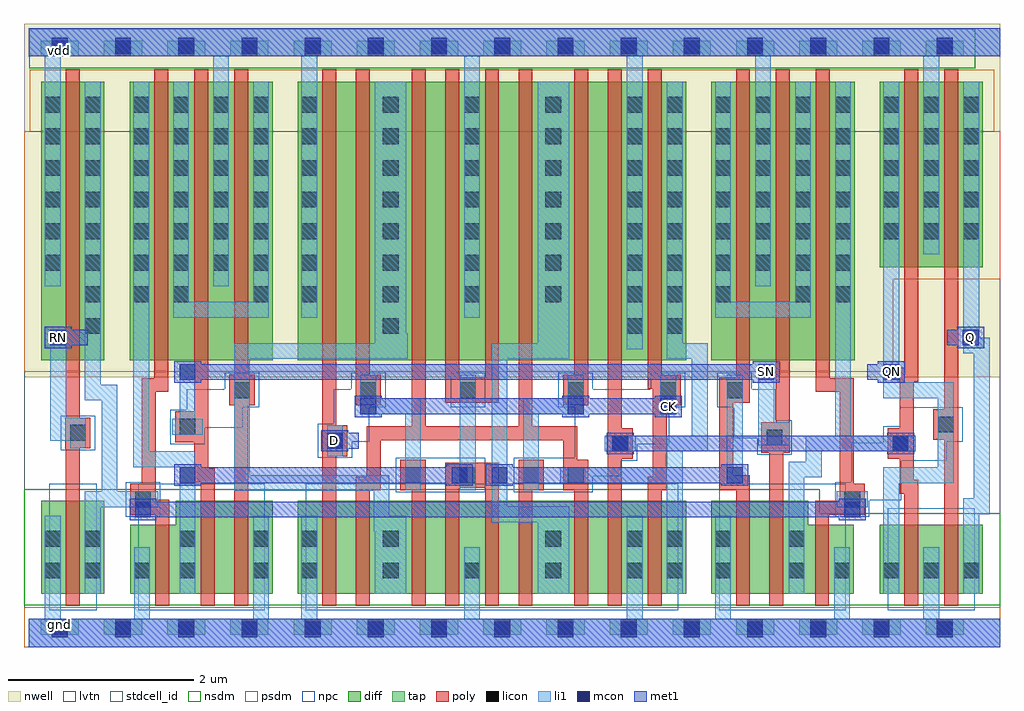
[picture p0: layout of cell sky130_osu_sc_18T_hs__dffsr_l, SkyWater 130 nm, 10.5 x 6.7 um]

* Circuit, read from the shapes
.subckt sky130_osu_sc_18T_hs__dffsr_l CK D Q QN RN SN gnd vdd
XM1 n1 RN gnd gnd sky130_fd_pr__nfet_01v8_lvt w=1 l=0.15
XM2 n2 n1 gnd gnd sky130_fd_pr__nfet_01v8_lvt w=0.74 l=0.15
XM3 n3 SN n2 gnd sky130_fd_pr__nfet_01v8_lvt w=1 l=0.15
XM4 gnd n4 n3 gnd sky130_fd_pr__nfet_01v8_lvt w=1 l=0.15
XM5 n5 D gnd gnd sky130_fd_pr__nfet_01v8_lvt w=1 l=0.15
XM6 n4 n6 n5 gnd sky130_fd_pr__nfet_01v8_lvt w=1 l=0.15
XM7 n7 CK n4 gnd sky130_fd_pr__nfet_01v8_lvt w=1 l=0.15
XM8 gnd n2 n7 gnd sky130_fd_pr__nfet_01v8_lvt w=1 l=0.15
XM9 n8 n2 gnd gnd sky130_fd_pr__nfet_01v8_lvt w=1 l=0.15
XM10 n9 CK n8 gnd sky130_fd_pr__nfet_01v8_lvt w=1 l=0.15
XM11 n10 n6 n9 gnd sky130_fd_pr__nfet_01v8_lvt w=1 l=0.15
XM12 gnd n11 n10 gnd sky130_fd_pr__nfet_01v8_lvt w=1 l=0.15
XM13 n6 CK gnd gnd sky130_fd_pr__nfet_01v8_lvt w=1 l=0.15
XM14 n12 n9 gnd gnd sky130_fd_pr__nfet_01v8_lvt w=1 l=0.15
XM15 n11 SN n12 gnd sky130_fd_pr__nfet_01v8_lvt w=1 l=0.15
XM16 gnd n1 n11 gnd sky130_fd_pr__nfet_01v8_lvt w=0.74 l=0.15
XM17 gnd n11 QN gnd sky130_fd_pr__nfet_01v8_lvt w=0.74 l=0.15
XM18 Q QN gnd gnd sky130_fd_pr__nfet_01v8_lvt w=0.74 l=0.15
XM19 n1 RN vdd vdd sky130_fd_pr__pfet_01v8 w=3 l=0.15
XM20 n13 n1 n2 vdd sky130_fd_pr__pfet_01v8 w=3 l=0.15
XM21 vdd SN n13 vdd sky130_fd_pr__pfet_01v8 w=3 l=0.15
XM22 n13 n4 vdd vdd sky130_fd_pr__pfet_01v8 w=3 l=0.15
XM23 n14 D vdd vdd sky130_fd_pr__pfet_01v8 w=3 l=0.15
XM24 n4 CK n14 vdd sky130_fd_pr__pfet_01v8 w=3 l=0.15
XM25 n15 n6 n4 vdd sky130_fd_pr__pfet_01v8 w=3 l=0.15
XM26 vdd n2 n15 vdd sky130_fd_pr__pfet_01v8 w=3 l=0.15
XM27 n16 n2 vdd vdd sky130_fd_pr__pfet_01v8 w=3 l=0.15
XM28 n9 n6 n16 vdd sky130_fd_pr__pfet_01v8 w=3 l=0.15
XM29 n17 CK n9 vdd sky130_fd_pr__pfet_01v8 w=3 l=0.15
XM30 vdd n11 n17 vdd sky130_fd_pr__pfet_01v8 w=3 l=0.15
XM31 n6 CK vdd vdd sky130_fd_pr__pfet_01v8 w=3 l=0.15
XM32 vdd n9 n18 vdd sky130_fd_pr__pfet_01v8 w=3 l=0.15
XM33 n18 SN vdd vdd sky130_fd_pr__pfet_01v8 w=3 l=0.15
XM34 n11 n1 n18 vdd sky130_fd_pr__pfet_01v8 w=3 l=0.15
XM35 vdd n11 QN vdd sky130_fd_pr__pfet_01v8 w=2 l=0.15
XM36 Q QN vdd vdd sky130_fd_pr__pfet_01v8 w=2 l=0.15
.ends

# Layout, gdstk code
import gdstk
lib = gdstk.Library(unit=1e-6, precision=1e-09)
def R(c, l, rs):  # rectangles x0, y0, x1, y1
    for r in rs: c.add(gdstk.rectangle(r[:2], r[2:], *l))
def A(c, l, x, y, w, h, nx, ny, dx, dy):  # array of equal rectangles
    R(c, l, [(x+i*dx, y+j*dy, x+i*dx+w, y+j*dy+h) for i in range(nx) for j in range(ny)])
nwell = (64, 20)
diff = (65, 20)
tap = (65, 44)
poly = (66, 20)
licon = (66, 44)
li1 = (67, 20)
mcon = (67, 44)
met1 = (68, 20)
stdcell_id = (81, 4)
nsdm = (93, 44)
psdm = (94, 20)
npc = (95, 20)
lvtn = (125, 44)

sky130_osu_sc_18t_hs__df = lib.new_cell('sky130_osu_sc_18T_hs__dffsr_l')
R(sky130_osu_sc_18t_hs__df, nwell, [(-0.05,2.905,10.45,6.705)])
R(sky130_osu_sc_18t_hs__df, diff, [(0.135,0.575,0.815,1.575), (1.095,0.575,2.625,1.315), (2.895,0.575,7.075,1.575), (7.345,0.575,8.875,1.315), (9.155,0.575,10.265,1.315), (1.585,1.315,2.625,1.575), (7.345,1.315,8.385,1.575), (0.135,3.085,0.815,6.085), (1.085,3.085,2.625,6.085), (2.895,3.085,7.075,6.085), (7.345,3.085,8.885,6.085), (9.155,4.085,10.265,6.085)])
A(sky130_osu_sc_18t_hs__df, tap, 0.13, 0.135, 0.41, 0.17, 15, 2, 0.68, 6.22)
R(sky130_osu_sc_18t_hs__df, poly, [(0.4,0.445,0.55,2.135), (1.36,0.445,1.51,1.425), (1.85,0.445,2,1.775), (2.21,0.445,2.36,2.6), (3.16,0.445,3.31,2.055), (3.52,0.445,3.67,1.685), (4.12,0.445,4.27,1.685), (4.48,0.445,4.63,1.715), (4.91,0.445,5.06,1.715), (5.27,0.445,5.42,1.685), (5.87,0.445,6.02,1.685), (6.23,0.445,6.38,2.025), (6.66,0.445,6.81,1.685), (7.61,0.445,7.76,1.69), (7.97,0.445,8.12,2.09), (8.46,0.445,8.61,1.425), (9.42,0.445,9.57,1.65), (9.85,0.445,10,2.23), (1.095,1.425,1.51,1.585), (8.46,1.425,8.995,1.575), (8.725,1.575,8.995,1.755), (1.095,1.585,1.365,1.755), (9.37,1.65,9.57,1.8), (3.52,1.685,3.79,1.835), (4,1.685,4.27,2.015), (5.27,1.685,5.54,2.015), (5.75,1.685,6.02,2.015), (6.66,1.685,6.865,1.835), (7.43,1.69,7.76,1.85), (4.48,1.715,5.06,1.985), (1.215,1.755,1.365,2.745), (8.725,1.755,8.875,2.745), (1.78,1.775,2,1.925), (9.37,1.8,9.52,2.025), (3.64,1.835,3.79,2.225), (6.715,1.835,6.865,2.6), (7.43,1.85,7.58,2.63), (1.78,1.925,1.93,2.205), (5.75,2.015,5.9,2.225), (6.23,2.025,6.5,2.355), (9.245,2.025,9.52,2.355), (3.16,2.055,3.43,2.385), (7.88,2.09,8.19,2.42), (0.395,2.135,0.55,2.14), (0.395,2.14,0.665,2.47), (1.575,2.205,1.93,2.535), (3.64,2.225,5.9,2.375), (9.73,2.23,10,2.56), (6.23,2.355,6.38,6.215), (9.37,2.355,9.52,2.855), (4.12,2.375,4.27,6.215), (5.27,2.375,5.42,6.215), (3.16,2.385,3.31,6.215), (8.04,2.42,8.19,6.215), (0.4,2.47,0.55,6.215), (1.78,2.535,1.93,6.215), (9.85,2.56,10,6.215), (2.16,2.6,2.43,2.93), (3.52,2.6,3.79,2.93), (5.75,2.6,6.02,2.93), (6.715,2.6,7.015,2.78), (4.48,2.63,5.06,2.9), (7.43,2.63,7.76,2.9), (1.215,2.745,1.5,2.895), (8.47,2.745,8.875,2.895), (6.66,2.78,7.015,2.93), (9.37,2.855,9.57,3.005), (1.35,2.895,1.5,6.215), (8.47,2.895,8.62,6.215), (4.48,2.9,4.63,6.215), (4.91,2.9,5.06,6.215), (7.61,2.9,7.76,6.215), (2.21,2.93,2.36,6.215), (3.52,2.93,3.67,6.215), (5.87,2.93,6.02,6.215), (6.66,2.93,6.81,6.215), (9.42,3.005,9.57,6.215)])
A(sky130_osu_sc_18t_hs__df, licon, 0.25, 0.135, 0.17, 0.17, 15, 2, 0.68, 6.22)
A(sky130_osu_sc_18t_hs__df, licon, 2.935, 0.74, 0.17, 0.17, 5, 2, 0.875, 2.97)
A(sky130_osu_sc_18t_hs__df, licon, 9.195, 0.74, 0.17, 0.17, 3, 2, 0.43, 3.65)
A(sky130_osu_sc_18t_hs__df, licon, 0.605, 3.37, 0.17, 0.17, 1, 8, 0, 0.34)
A(sky130_osu_sc_18t_hs__df, licon, 6.865, 3.37, 0.17, 0.17, 1, 8, 0, 0.34)
A(sky130_osu_sc_18t_hs__df, licon, 0.175, 4.05, 0.17, 0.17, 1, 6, 0, 0.34)
A(sky130_osu_sc_18t_hs__df, licon, 1.125, 4.05, 0.17, 0.17, 4, 6, 0.43, 0.34)
A(sky130_osu_sc_18t_hs__df, licon, 2.935, 4.05, 0.17, 0.17, 5, 6, 0.875, 0.34)
A(sky130_osu_sc_18t_hs__df, licon, 7.385, 4.05, 0.17, 0.17, 4, 6, 0.43, 0.34)
A(sky130_osu_sc_18t_hs__df, licon, 9.195, 4.73, 0.17, 0.17, 3, 4, 0.43, 0.34)
R(sky130_osu_sc_18t_hs__df, licon, [(0.175,0.74,0.345,0.91), (0.605,0.74,0.775,0.91), (1.135,0.74,1.305,0.91), (1.625,0.74,1.795,0.91), (2.415,0.74,2.585,0.91), (6.865,0.74,7.035,0.91), (7.385,0.74,7.555,0.91), (8.175,0.74,8.345,0.91), (8.665,0.74,8.835,0.91), (0.175,1.08,0.345,1.25), (0.605,1.08,0.775,1.25), (1.625,1.08,1.795,1.25), (2.415,1.08,2.585,1.25), (2.935,1.08,3.105,1.25), (3.81,1.08,3.98,1.25), (5.56,1.08,5.73,1.25), (6.435,1.08,6.605,1.25), (6.865,1.08,7.035,1.25), (7.385,1.08,7.555,1.25), (8.175,1.08,8.345,1.25), (1.145,1.505,1.315,1.675), (8.775,1.505,8.945,1.675), (4.05,1.765,4.22,1.935), (4.64,1.765,4.81,1.935), (5.32,1.765,5.49,1.935), (5.8,1.765,5.97,1.935), (6.28,2.105,6.45,2.275), (9.295,2.105,9.465,2.275), (3.21,2.135,3.38,2.305), (7.94,2.17,8.11,2.34), (0.445,2.22,0.615,2.39), (1.625,2.285,1.795,2.455), (9.78,2.31,9.95,2.48), (2.21,2.68,2.38,2.85), (3.57,2.68,3.74,2.85), (4.64,2.68,4.81,2.85), (5.8,2.68,5.97,2.85), (6.795,2.68,6.965,2.85), (7.51,2.68,7.68,2.85), (3.81,3.37,3.98,3.54), (6.435,3.37,6.605,3.54), (1.125,3.71,1.295,3.88), (1.555,3.71,1.725,3.88), (2.415,3.71,2.585,3.88), (7.385,3.71,7.555,3.88), (8.245,3.71,8.415,3.88), (8.675,3.71,8.845,3.88)])
R(sky130_osu_sc_18t_hs__df, li1, [(0,0,10.45,0.305), (0.175,0.305,0.345,1.415), (1.135,0.305,1.305,1.075), (2.415,0.305,2.585,1.415), (2.935,0.305,3.105,1.415), (4.685,0.305,4.855,1.075), (6.435,0.305,6.605,1.415), (7.385,0.305,7.555,1.415), (8.665,0.305,8.835,1.075), (9.625,0.305,9.795,1.075), (0.605,0.575,0.775,1.505), (1.625,0.575,1.795,1.935), (3.725,0.575,4.065,1.245), (5.475,0.575,5.815,1.345), (6.865,0.575,7.035,1.765), (8.175,0.575,8.345,1.825), (9.195,0.575,9.365,1.765), (10.055,0.575,10.225,1.43), (3.71,1.245,4.065,1.415), (4.98,1.345,5.815,1.515), (1.145,1.395,1.315,1.505), (8.775,1.395,8.945,1.505), (3.71,1.415,3.88,1.68), (10.055,1.43,10.34,1.6), (0.605,1.505,1.395,1.675), (8.695,1.505,9.025,1.675), (4.98,1.515,5.15,3.1), (10.17,1.6,10.34,3.16), (0.785,1.675,0.955,2.655), (2.21,1.68,3.88,1.85), (4.05,1.685,4.22,2.505), (4.64,1.685,4.81,1.765), (5.32,1.685,5.49,2.505), (4.55,1.765,4.81,1.935), (5.72,1.765,7.035,1.935), (7.51,1.765,7.68,2.93), (9.195,1.765,9.95,1.935), (8.175,1.825,8.53,1.995), (2.21,1.85,2.38,3.1), (1.125,1.935,1.795,2.105), (4.64,1.935,4.81,2.93), (6.865,1.935,7.035,2.105), (9.78,1.935,9.95,2.68), (8.36,1.995,8.53,2.105), (3.21,2.055,3.38,2.385), (1.125,2.105,1.295,6.085), (6.2,2.105,6.53,2.275), (6.865,2.105,7.305,2.275), (8.36,2.105,9.545,2.275), (0.445,2.14,0.615,2.22), (7.85,2.17,8.19,2.42), (0.235,2.22,0.615,2.47), (7.135,2.275,7.305,3.1), (8.675,2.275,8.845,6.085), (1.545,2.285,1.875,2.455), (7.85,2.42,8.02,3.045), (1.625,2.455,1.795,3.045), (0.235,2.47,0.405,3.415), (3.57,2.505,4.22,2.675), (5.32,2.505,5.97,2.675), (6.795,2.505,6.965,2.93), (0.605,2.655,0.955,2.825), (3.57,2.675,3.74,2.93), (5.8,2.675,5.97,2.93), (9.195,2.68,9.95,2.85), (0.605,2.825,0.775,6.085), (9.195,2.85,9.365,6.085), (2.21,3.1,4.08,3.27), (4.98,3.1,5.815,3.27), (6.865,3.1,7.305,3.27), (10.055,3.16,10.34,3.245), (6.435,3.205,6.605,6.355), (10.05,3.245,10.34,3.33), (3.725,3.27,4.08,3.375), (5.475,3.27,5.815,6.085), (6.865,3.27,7.035,6.085), (10.05,3.33,10.225,3.415), (3.725,3.375,4.065,6.085), (10.055,3.415,10.225,6.085), (1.555,3.545,2.585,3.715), (2.935,3.545,3.105,6.355), (4.685,3.545,4.855,6.355), (7.385,3.545,8.415,3.715), (1.555,3.715,1.725,6.085), (2.415,3.715,2.585,6.085), (7.385,3.715,7.555,6.085), (8.245,3.715,8.415,6.085), (0.175,3.885,0.345,6.355), (1.985,3.885,2.155,6.355), (7.815,3.885,7.985,6.355), (9.625,4.225,9.795,6.355), (0,6.355,10.45,6.66)])
A(sky130_osu_sc_18t_hs__df, mcon, 0.25, 0.105, 0.17, 0.17, 15, 2, 0.68, 6.28)
R(sky130_osu_sc_18t_hs__df, mcon, [(1.145,1.395,1.315,1.565), (8.775,1.395,8.945,1.565), (1.625,1.765,1.795,1.935), (4.55,1.765,4.72,1.935), (4.98,1.765,5.15,1.935), (7.51,1.765,7.68,1.935), (6.28,2.105,6.45,2.275), (9.295,2.105,9.465,2.275), (3.21,2.135,3.38,2.305), (3.57,2.505,3.74,2.675), (5.8,2.505,5.97,2.675), (6.795,2.505,6.965,2.675), (1.625,2.875,1.795,3.045), (7.85,2.875,8.02,3.045), (9.195,2.875,9.365,3.045), (0.235,3.245,0.405,3.415), (10.05,3.245,10.22,3.415)])
R(sky130_osu_sc_18t_hs__df, met1, [(0,0,10.45,0.305), (1.085,1.365,1.375,1.395), (8.715,1.365,9.005,1.395), (1.085,1.395,9.005,1.565), (1.085,1.565,1.375,1.595), (8.715,1.565,9.005,1.595), (1.565,1.735,1.855,1.765), (4.49,1.735,4.78,1.765), (4.92,1.735,5.21,1.765), (7.45,1.735,7.74,1.765), (1.565,1.765,4.78,1.935), (4.92,1.765,7.74,1.935), (1.565,1.935,1.855,1.965), (4.49,1.935,4.78,1.965), (4.92,1.935,5.21,1.965), (7.45,1.935,7.74,1.965), (6.22,2.075,6.51,2.105), (9.235,2.075,9.525,2.105), (3.15,2.105,3.44,2.135), (6.22,2.105,9.525,2.275), (3.15,2.135,3.55,2.305), (6.22,2.275,6.51,2.305), (9.235,2.275,9.525,2.305), (3.15,2.305,3.44,2.335), (3.51,2.475,3.8,2.505), (5.74,2.475,6.03,2.505), (6.735,2.475,7.025,2.505), (3.51,2.505,7.025,2.675), (3.51,2.675,3.8,2.705), (5.74,2.675,6.03,2.705), (6.735,2.675,7.025,2.705), (1.565,2.845,1.855,2.875), (7.79,2.845,8.08,2.875), (9.135,2.845,9.425,2.875), (1.565,2.875,8.08,3.045), (9.02,2.875,9.425,3.045), (1.565,3.045,1.855,3.075), (7.79,3.045,8.08,3.075), (9.135,3.045,9.425,3.075), (0.175,3.215,0.465,3.245), (9.99,3.215,10.28,3.245), (0.175,3.245,0.635,3.415), (9.88,3.245,10.28,3.415), (0.175,3.415,0.465,3.445), (9.99,3.415,10.28,3.445), (0,6.355,10.45,6.66)])
R(sky130_osu_sc_18t_hs__df, stdcell_id, [(-0.05,0,10.45,5.55)])
R(sky130_osu_sc_18t_hs__df, nsdm, [(-0.05,0.45,10.45,1.44), (-0.05,1.44,8.51,1.7), (0.005,6.23,10.185,6.65)])
R(sky130_osu_sc_18t_hs__df, psdm, [(-0.05,0,10.45,0.43), (-0.05,2.96,9.3,3.96), (-0.05,3.96,10.45,5.55), (0.01,5.55,10.39,6.21)])
R(sky130_osu_sc_18t_hs__df, npc, [(1.045,1.405,1.415,1.775), (8.675,1.405,9.045,1.58), (8.675,1.58,9.39,1.775), (3.95,1.665,4.91,2.035), (5.22,1.665,6.07,1.84), (8.85,1.775,9.39,2.005), (5.22,1.84,6.375,2.005), (5.22,2.005,6.55,2.035), (8.85,2.005,9.875,2.2), (3.11,2.035,3.48,2.21), (5.875,2.035,6.55,2.18), (7.84,2.07,8.21,2.245), (0.345,2.12,0.715,2.49), (5.875,2.18,6.89,2.58), (1.525,2.185,1.895,2.36), (9.195,2.2,9.875,2.21), (3.11,2.21,3.665,2.405), (9.195,2.21,10.05,2.375), (7.585,2.245,8.21,2.44), (1.525,2.36,2.305,2.555), (9.37,2.375,10.05,2.58), (3.285,2.405,3.665,2.58), (7.585,2.44,8.035,2.58), (1.7,2.555,2.305,2.58), (1.7,2.58,2.48,2.775), (3.285,2.58,3.84,2.775), (4.54,2.58,4.91,2.95), (5.7,2.58,7.065,2.775), (7.41,2.58,8.035,2.775), (2.11,2.775,2.48,2.95), (3.47,2.775,3.84,2.95), (5.7,2.775,6.07,2.95), (6.695,2.775,7.065,2.95), (7.41,2.775,7.78,2.95)])
R(sky130_osu_sc_18t_hs__df, lvtn, [(0.22,0.395,0.73,1.755), (1.18,0.395,2.54,1.755), (2.98,0.395,6.99,1.755), (7.43,0.395,8.79,1.755), (9.24,0.395,10.18,1.495)])
sky130_osu_sc_18t_hs__df.add(gdstk.Label('gnd', (0.335,0.24), layer=68, texttype=16))
sky130_osu_sc_18t_hs__df.add(gdstk.Label('vdd', (0.335,6.42), layer=68, texttype=16))
sky130_osu_sc_18t_hs__df.add(gdstk.Label('D', (3.295,2.22), layer=68, texttype=5))
sky130_osu_sc_18t_hs__df.add(gdstk.Label('CK', (6.88,2.59), layer=68, texttype=5))
sky130_osu_sc_18t_hs__df.add(gdstk.Label('QN', (9.285,2.96), layer=68, texttype=5))
sky130_osu_sc_18t_hs__df.add(gdstk.Label('Q', (10.135,3.33), layer=68, texttype=5))
sky130_osu_sc_18t_hs__df.add(gdstk.Label('SN', (7.935,2.96), layer=68, texttype=5))
sky130_osu_sc_18t_hs__df.add(gdstk.Label('RN', (0.325,3.33), layer=68, texttype=5))

lib.write_gds('sky130_osu_sc_18T_hs__dffsr_l.gds')
